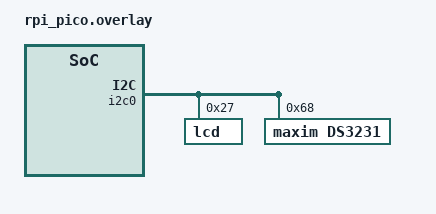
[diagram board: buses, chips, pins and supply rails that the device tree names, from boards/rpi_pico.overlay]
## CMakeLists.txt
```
# SPDX-License-Identifier: Apache-2.0

cmake_minimum_required(VERSION 3.20.0)
set(DTC_OVERLAY_FILE ${CMAKE_CURRENT_SOURCE_DIR}/boards/rpi_pico.overlay)

include_directories(include)

find_package(Zephyr REQUIRED HINTS $ENV{ZEPHYR_BASE})
project(Display)

target_sources(app PRIVATE src/main.cpp)
include_directories(boards)
include_directories(src)
file(GLOB_RECURSE SRCS src/**.cpp)
target_sources(app PRIVATE ${SRCS})
#include_directories(wiringPi)
#include_directories(devLib)
```

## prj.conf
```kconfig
# C++
CONFIG_CPLUSPLUS=y
CONFIG_NEWLIB_LIBC=y
CONFIG_LIB_CPLUSPLUS=y
CONFIG_NEWLIB_LIBC_FLOAT_PRINTF=y
CONFIG_STDOUT_CONSOLE=y
CONFIG_PRINTK=y
CONFIG_LOG=y
CONFIG_LOG_PRINTK=y
CONFIG_LOG_MODE_IMMEDIATE=y


CONFIG_I2C=y
CONFIG_GPIO=y
CONFIG_RTC=y
CONFIG_PINCTRL=y
CONFIG_SENSOR=y
CONFIG_COUNTER=y
CONFIG_COUNTER_MAXIM_DS3231=y
CONFIG_COUNTER_INIT_PRIORITY=65
```

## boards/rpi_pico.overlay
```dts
&pinctrl {

        myi2c: myi2c {
            group1 {
                pinmux = <I2C0_SDA_P4>, <I2C0_SCL_P5>;
                input-enable;
                input-schmitt-enable;
            };
        };      
};

&i2c0 {
    status = "okay";
    pinctrl-0 = <&myi2c>;

    lcd: lcd@27 {
        status = "okay";
        reg = <0x27>;
    };

	ds3231: ds3231@68 {
        status = "okay";
		compatible = "maxim,ds3231";
		reg = <0x68>;
	};
};
```

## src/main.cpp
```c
/*
 * Copyright (c) 2019-2020 Peter Bigot Consulting, LLC
 *
 * SPDX-License-Identifier: Apache-2.0
 */

#include <stdint.h>
#include <stdio.h>

#include <zephyr/kernel.h>
#include <zephyr/device.h>
#include <zephyr/drivers/counter.h>
#include <zephyr/sys/printk.h>
#include <zephyr/drivers/rtc/maxim_ds3231.h>
#include <cstdint>

/* Format times as: YYYY-MM-DD HH:MM:SS DOW DOY */
static const char *format_time(time_t time,
			       long nsec)
{
	static char buf[64];
	char *bp = buf;
	char *const bpe = bp + sizeof(buf);
	struct tm tv;
	struct tm *tp = gmtime_r(&time, &tv);

	bp += strftime(bp, bpe - bp, "%Y-%m-%d %H:%M:%S", tp);
	if (nsec >= 0) {
		bp += snprintf(bp, bpe - bp, ".%09lu", nsec);
	}
	bp += strftime(bp, bpe - bp, " %a %j", tp);
	return buf;
}

static void sec_counter_callback(const struct device *dev,
				 uint8_t id,
				 uint32_t ticks,
				 void *ud)
{
	printk("Counter callback at %u ms, id %d, ticks %u, ud %p\n",
	       k_uptime_get_32(), id, ticks, ud);
}

static void sec_alarm_handler(const struct device *dev,
			      uint8_t id,
			      uint32_t syncclock,
			      void *ud)
{
	uint32_t now = maxim_ds3231_read_syncclock(dev);
	struct counter_alarm_cfg alarm = {
		.callback = sec_counter_callback,
		.ticks = 10,
		.user_data = ud,
	};

	printk("setting channel alarm\n");
	int rc = counter_set_channel_alarm(dev, id, &alarm);

	printk("Sec signaled at %u ms, param %p, delay %u; set %d\n",
	       k_uptime_get_32(), ud, now - syncclock, rc);
}


/** Calculate the normalized result of a - b.
 *
 * For both inputs and outputs tv_nsec must be in the range [0,
 * NSEC_PER_SEC).  tv_sec may be negative, zero, or positive.
 */
void timespec_subtract(struct timespec *amb,
		       const struct timespec *a,
		       const struct timespec *b)
{
	if (a->tv_nsec >= b->tv_nsec) {
		amb->tv_nsec = a->tv_nsec - b->tv_nsec;
		amb->tv_sec = a->tv_sec - b->tv_sec;
	} else {
		amb->tv_nsec = NSEC_PER_SEC + a->tv_nsec - b->tv_nsec;
		amb->tv_sec = a->tv_sec - b->tv_sec - 1;
	}
}

/** Calculate the normalized result of a + b.
 *
 * For both inputs and outputs tv_nsec must be in the range [0,
 * NSEC_PER_SEC).  tv_sec may be negative, zero, or positive.
 */
void timespec_add(struct timespec *apb,
		  const struct timespec *a,
		  const struct timespec *b)
{
	apb->tv_nsec = a->tv_nsec + b->tv_nsec;
	apb->tv_sec = a->tv_sec + b->tv_sec;
	if (apb->tv_nsec >= NSEC_PER_SEC) {
		apb->tv_sec += 1;
		apb->tv_nsec -= NSEC_PER_SEC;
	}
}

static void min_alarm_handler(const struct device *dev,
			      uint8_t id,
			      uint32_t syncclock,
			      void *ud)
{
	uint32_t time = 0;
	struct maxim_ds3231_syncpoint sp = { 0 };

	(void)counter_get_value(dev, &time);

	uint32_t uptime = k_uptime_get_32();
	uint16_t ms = uptime % 1000U;

	uptime /= 1000U;
	uint8_t se = uptime % 60U;

	uptime /= 60U;
	uint8_t mn = uptime % 60U;

	uptime /= 60U;
	uint8_t hr = uptime;

	(void)maxim_ds3231_get_syncpoint(dev, &sp);

	uint32_t offset_syncclock = syncclock - sp.syncclock;
	uint32_t offset_s = time - (uint32_t)sp.rtc.tv_sec;
	uint32_t syncclock_Hz = maxim_ds3231_syncclock_frequency(dev);
	struct timespec adj;

	adj.tv_sec = offset_syncclock / syncclock_Hz;
	adj.tv_nsec = (offset_syncclock % syncclock_Hz)
		* (uint64_t)NSEC_PER_SEC / syncclock_Hz;

	int32_t err_ppm = (int32_t)(offset_syncclock
				- offset_s * syncclock_Hz)
			* (int64_t)1000000
			/ (int32_t)syncclock_Hz / (int32_t)offset_s;
	struct timespec *ts = &sp.rtc;

	ts->tv_sec += adj.tv_sec;
	ts->tv_nsec += adj.tv_nsec;
	if (ts->tv_nsec >= NSEC_PER_SEC) {
		ts->tv_sec += 1;
		ts->tv_nsec -= NSEC_PER_SEC;
	}

	printk("%s: adj %d.%09lu, uptime %u:%02u:%02u.%03u, clk err %d ppm\n",
	       format_time(time, -1),
	       (uint32_t)(ts->tv_sec - time), ts->tv_nsec,
	       hr, mn, se, ms, err_ppm);
}

struct maxim_ds3231_alarm sec_alarm;
struct maxim_ds3231_alarm min_alarm;

static void show_counter(const struct device *ds3231)
{
	uint32_t now = 0;

	printk("\nCounter at %p\n", ds3231);
	printk("\tMax top value: %u (%08x)\n",
	       counter_get_max_top_value(ds3231),
	       counter_get_max_top_value(ds3231));
	printk("\t%u channels\n", counter_get_num_of_channels(ds3231));
	printk("\t%u Hz\n", counter_get_frequency(ds3231));

	printk("Top counter value: %u (%08x)\n",
	       counter_get_top_value(ds3231),
	       counter_get_top_value(ds3231));

	(void)counter_get_value(ds3231, &now);

	printk("Now %u: %s\n", now, format_time(now, -1));
}

/* Take the currently stored RTC time and round it up to the next
 * hour.  Program the RTC as though this time had occurred at the
 * moment the application booted.
 *
 * Subsequent reads of the RTC time adjusted based on a syncpoint
 * should match the uptime relative to the programmed hour.
 */
static void set_aligned_clock(const struct device *ds3231)
{
	if (!IS_ENABLED(CONFIG_APP_SET_ALIGNED_CLOCK)) {
		return;
	}

	uint32_t syncclock_Hz = maxim_ds3231_syncclock_frequency(ds3231);
	uint32_t syncclock = maxim_ds3231_read_syncclock(ds3231);
	uint32_t now = 0;
	int rc = counter_get_value(ds3231, &now);
	uint32_t align_hour = now + 3600 - (now % 3600);

	struct maxim_ds3231_syncpoint sp = {
		.rtc = {
			.tv_sec = align_hour,
			.tv_nsec = (uint64_t)NSEC_PER_SEC * syncclock / syncclock_Hz,
		},
		.syncclock = syncclock,
	};

	struct k_poll_signal ss;
	struct sys_notify notify;
	struct k_poll_event sevt = K_POLL_EVENT_INITIALIZER(K_POLL_TYPE_SIGNAL,
							    K_POLL_MODE_NOTIFY_ONLY,
							    &ss);

	k_poll_signal_init(&ss);
	sys_notify_init_signal(&notify, &ss);

	uint32_t t0 = k_uptime_get_32();

	rc = maxim_ds3231_set(ds3231, &sp, &notify);

	printk("\nSet %s at %u ms past: %d\n", format_time(sp.rtc.tv_sec, sp.rtc.tv_nsec),
	       syncclock, rc);

	/* Wait for the set to complete */
	rc = k_poll(&sevt, 1, K_FOREVER);

	uint32_t t1 = k_uptime_get_32();

	/* Delay so log messages from sync can complete */
	k_sleep(K_MSEC(100));
	printk("Synchronize final: %d %d in %u ms\n", rc, ss.result, t1 - t0);

	rc = maxim_ds3231_get_syncpoint(ds3231, &sp);
	printk("wrote sync %d: %u %u at %u\n", rc,
	       (uint32_t)sp.rtc.tv_sec, (uint32_t)sp.rtc.tv_nsec,
	       sp.syncclock);
}

int main(void)
{
	const struct device *const ds3231 = DEVICE_DT_GET_ONE(maxim_ds3231);

	if (!device_is_ready(ds3231)) {
		printk("%s: device not ready.\n", ds3231->name);
		return 0;
	}

	uint32_t syncclock_Hz = maxim_ds3231_syncclock_frequency(ds3231);

	printk("DS3231 on %s syncclock %u Hz\n\n", CONFIG_BOARD, syncclock_Hz);

	int rc = maxim_ds3231_stat_update(ds3231, 0, MAXIM_DS3231_REG_STAT_OSF);

	if (rc >= 0) {
		printk("DS3231 has%s experienced an oscillator fault\n",
		       (rc & MAXIM_DS3231_REG_STAT_OSF) ? "" : " not");
	} else {
		printk("DS3231 stat fetch failed: %d\n", rc);
		return 0;
	}

/* 	uint32_t start;
	counter_get_value(ds3231, &start);
	uint32_t now; */
	/* Show the DS3231 counter properties */
/* 	counter_top_cfg conf;
	conf.ticks = 4000000;
	conf.flags = 1;
	counter_set_top_value(ds3231, &conf); */
	while (1) {
/* 		counter_get_value(ds3231, &now);
		uint32_t time = now - start;
		printk("Elapsed time: %u \n", time); */
		show_counter(ds3231);
		k_msleep(5000);
	}
	
	return 0;
}
```
